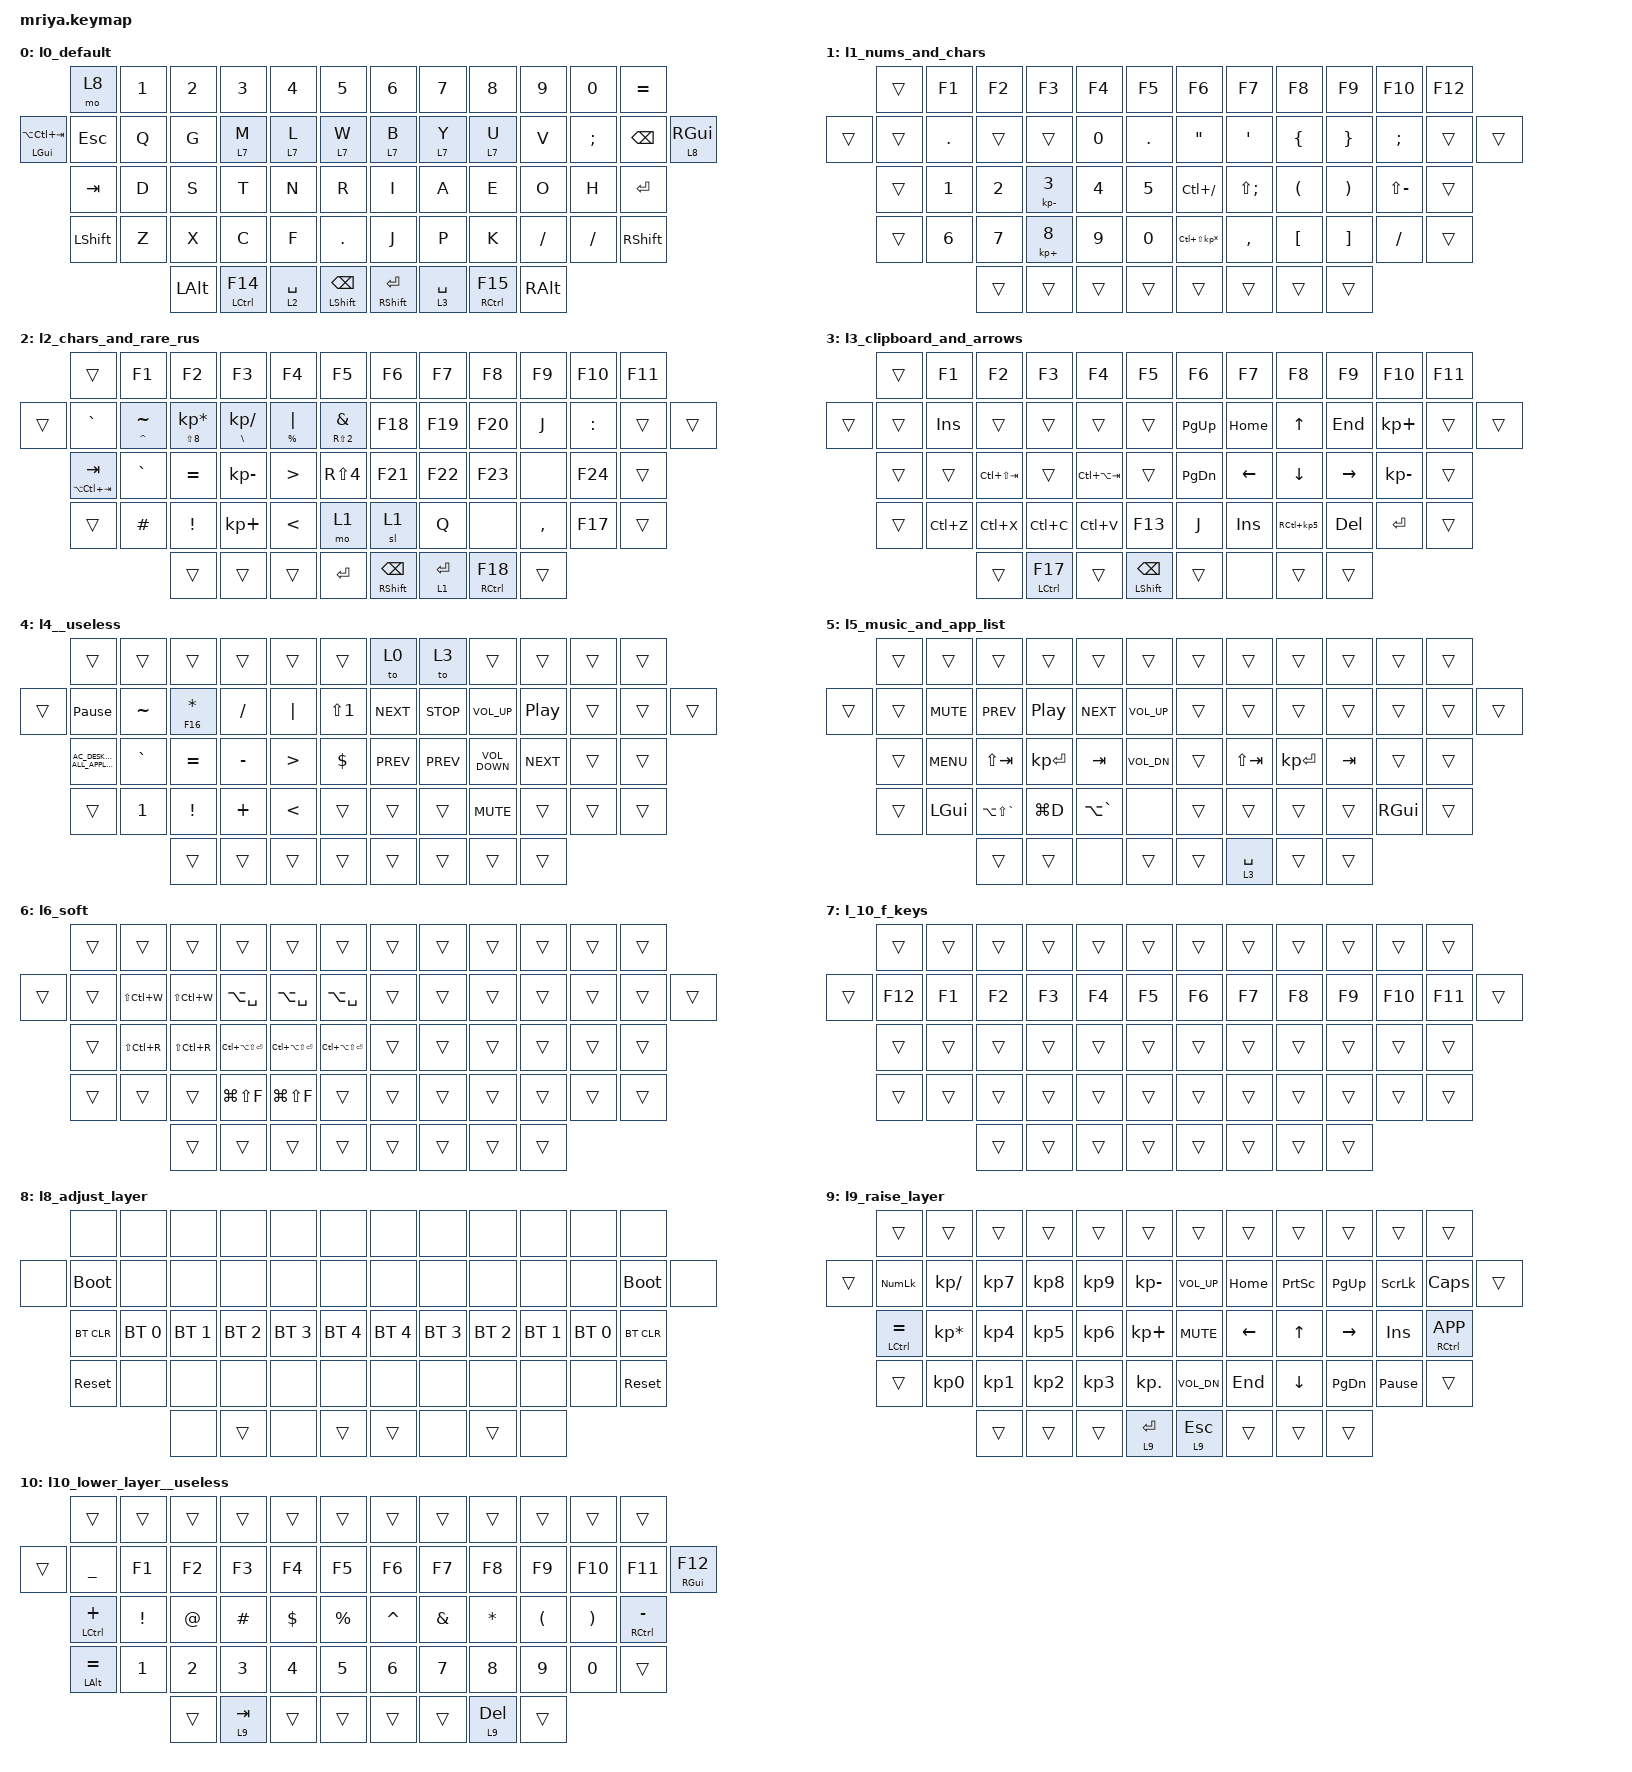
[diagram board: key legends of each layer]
/*
 * Copyright (c) 2023 Andrei Gaevskii
 *
 * SPDX-License-Identifier: MIT
 */

#include <behaviors.dtsi>
#include <dt-bindings/zmk/bt.h>
#include <dt-bindings/zmk/keys.h>

#define DEF 0
#define LWR 1
#define RSE 2
#define ADJ 3

&lt { quick_tap_ms = <200>; };

&mt { quick_tap_ms = <200>; };

/ {
    combos {
        compatible = "zmk,combos";

        gg_lang_toggle_and_l1_combo {
            bindings = <&mt LEFT_ALT F13>;
            key-positions = <52 55>;
            timeout-ms = <65>;
            slow-release;
        };

        gg_lang_eng_combo {
            bindings = <&mt LEFT_ALT F14>;
            key-positions = <51 42>;
            timeout-ms = <65>;
        };

        gg_lang_rus_combo {
            bindings = <&mt RIGHT_ALT F15>;
            key-positions = <56 45>;
            timeout-ms = <65>;
            slow-release;
        };

        left_enter_combo {
            bindings = <&lt 6 ENTER>;
            key-positions = <52 53>;
            timeout-ms = <70>;
            slow-release;
        };

        l0_left_nav_mode_on_combo {
            bindings = <&to 3>;
            key-positions = <33 35 34>;
            layers = <0>;
            timeout-ms = <60>;
        };

        l3_left_nav_mode_off_combo {
            bindings = <&to 0>;
            key-positions = <33 34 35>;
            timeout-ms = <60>;
            layers = <3>;
        };

        ctrl_z_combo {
            bindings = <&kp LC(Z)>;
            key-positions = <39 40>;
            timeout-ms = <60>;
        };

        ctrl_x_combo {
            bindings = <&kp LC(X)>;
            key-positions = <40 41>;
            timeout-ms = <60>;
        };

        ctrl_c_combo {
            bindings = <&kp LC(C)>;
            key-positions = <41 42>;
            timeout-ms = <60>;
        };

        ctrl_v_1_combo {
            bindings = <&kp LC(V)>;
            key-positions = <42 43>;
            timeout-ms = <60>;
        };

        ctrl_v_2_combo {
            bindings = <&kp LC(V)>;
            key-positions = <30 29>;
            timeout-ms = <60>;
            require-prior-idle-ms = <10>;
        };

        l3_home_pgup_combo {
            bindings = <&mt HOME PG_UP>;
            key-positions = <20 21>;
            layers = <3>;
            timeout-ms = <60>;
        };

        l3_home_pudn_combo {
            bindings = <&mt END PG_DN>;
            key-positions = <33 34>;
            layers = <3>;
            timeout-ms = <60>;
        };

        l0_backspace_combo {
            bindings = <&kp BACKSPACE>;
            key-positions = <22 23>;
            layers = <0 1 2 3>;
            timeout-ms = <65>;
        };

        l0_enter_1_combo {
            bindings = <&kp KP_ENTER>;
            key-positions = <35 36>;
            layers = <0 1 2 3>;
            timeout-ms = <60>;
        };

        l0_del_combo {
            bindings = <&kp DELETE>;
            key-positions = <48 47>;
            layers = <0 1 2 3>;
            timeout-ms = <60>;
        };

        l0_enter_2_combo {
            bindings = <&kp KP_ENTER>;
            key-positions = <36 34 35>;
            layers = <0 1 2 3>;
            timeout-ms = <60>;
        };

        l0_esc_combo {
            bindings = <&kp ESCAPE>;
            key-positions = <14 15>;
            layers = <0>;
            timeout-ms = <60>;
        };

        l0_tab_1_combo {
            bindings = <&mt LA(LC(TAB)) TAB>;
            key-positions = <27 28>;
            layers = <0>;
            timeout-ms = <60>;
            require-prior-idle-ms = <10>;
        };

        l0_tab_2_combo {
            bindings = <&mt LA(LC(TAB)) TAB>;
            key-positions = <27 28 29>;
            layers = <0>;
            timeout-ms = <60>;
        };

        l1_l2_l3__n2_f2_combo {
            bindings = <&mt NUMBER_2 F2>;
            key-positions = <14 15>;
            layers = <1 3 2>;
            timeout-ms = <60>;
        };

        l1_l2_l3__n3_f3_combo {
            bindings = <&mt NUMBER_3 F3>;
            key-positions = <15 16>;
            layers = <1 2 3>;
            timeout-ms = <60>;
        };

        l1_l2_l3__n4_f4_combo {
            bindings = <&mt NUMBER_4 F4>;
            key-positions = <17 16>;
            layers = <1 2 3>;
            timeout-ms = <60>;
        };

        l1_l2_l3__n1_f1_combo {
            bindings = <&mt NUMBER_1 F1>;
            key-positions = <13 14>;
            layers = <1 2 3>;
            timeout-ms = <60>;
        };

        l1_l2_l3__n5_f5_combo {
            bindings = <&mt NUMBER_5 F5>;
            key-positions = <18 17>;
            layers = <3 2 1>;
            timeout-ms = <60>;
        };

        l0_backspace_2_combo {
            bindings = <&kp BACKSPACE>;
            key-positions = <21 22>;
            layers = <0 2 3 1>;
            timeout-ms = <60>;
        };

        l0_enter_3_combo {
            bindings = <&kp ENTER>;
            key-positions = <34 35>;
            layers = <0 2 3 1>;
            timeout-ms = <60>;
        };

        l0_del_2_combo {
            bindings = <&kp DELETE>;
            key-positions = <47 46>;
            layers = <0 2 3 1>;
            timeout-ms = <60>;
        };

        l0_app_list_layer_combo {
            bindings = <&lt 5 LA(LC(TAB))>;
            key-positions = <43 52>;
            layers = <0>;
            timeout-ms = <65>;
            slow-release;
        };

        l5_alt_for_app_switch_combo {
            bindings = <&kp LALT>;
            key-positions = <43 52>;
            layers = <5>;
            timeout-ms = <60>;
            slow-release;
        };

        l0_r_alt_combo {
            bindings = <&kp RIGHT_ALT>;
            key-positions = <55 44>;
            layers = <0>;
            timeout-ms = <60>;
            slow-release;
        };

        l0_l3__thumb_to_l1_2_combo {
            bindings = <&mo 1>;
            key-positions = <52 51>;
            timeout-ms = <65>;
            layers = <0 3>;
            slow-release;
        };

        l0_l3__thumb_to_l1_3_combo {
            bindings = <&mo 1>;
            key-positions = <55 56>;
            timeout-ms = <65>;
            layers = <3 0>;
            slow-release;
        };

        l0_l3__esc_9 {
            bindings = <&kp ESCAPE>;
            key-positions = <16 15>;
            layers = <0 3>;
            timeout-ms = <60>;
        };

        l0_l3__enter_9 {
            bindings = <&kp TAB>;
            key-positions = <28 29>;
            layers = <0 3>;
            timeout-ms = <60>;
            require-prior-idle-ms = <10>;
        };

        l0_l3_backspace_3_combo {
            bindings = <&kp BACKSPACE>;
            key-positions = <35 33>;
            layers = <0 3>;
        };

        l0_l3_backspace_4_combo {
            bindings = <&kp BACKSPACE>;
            key-positions = <35 21>;
        };

        gg_l_gui_combo {
            bindings = <&kp LEFT_GUI>;
            key-positions = <39 40 41>;
            timeout-ms = <65>;
        };

        gg_r_gui_combo {
            bindings = <&kp RIGHT_GUI>;
            key-positions = <48 47 46>;
            timeout-ms = <65>;
        };

        gg_backspace_5_combo {
            bindings = <&kp BACKSPACE>;
            key-positions = <46 45>;
        };

        gg_f12_1 {
            bindings = <&kp F12>;
            key-positions = <1 10>;
        };

        gg_f12_2 {
            bindings = <&kp F12>;
            key-positions = <1 14 10 23>;
        };

        gg_l_gui_combo_2 {
            bindings = <&kp LEFT_GUI>;
            key-positions = <39 41>;
            timeout-ms = <65>;
        };

        gg_r_gui_combo_2 {
            bindings = <&kp RIGHT_GUI>;
            key-positions = <48 46>;
            timeout-ms = <65>;
        };

        gg_f8_combo {
            bindings = <&kp F8>;
            key-positions = <8 21>;
        };

        gg_f9_combo {
            bindings = <&kp F9>;
            key-positions = <9 22>;
        };

        gg_f10_combo {
            bindings = <&kp F10>;
            key-positions = <10 23>;
        };

        gg_l_gui_combo_3 {
            bindings = <&kp LEFT_GUI>;
            key-positions = <42 40>;
            timeout-ms = <65>;
        };

        gg_r_gui_combo_3 {
            bindings = <&kp RIGHT_GUI>;
            key-positions = <45 47>;
            timeout-ms = <65>;
        };

        gg_beaftext_1 {
            bindings = <&kp LS(LA(LC(ENTER)))>;
            key-positions = <28 30>;
            timeout-ms = <65>;
        };

        gg_beaftext_2 {
            bindings = <&kp LS(LA(LC(ENTER)))>;
            key-positions = <15 17>;
            timeout-ms = <65>;
        };

        gg_f1_combo {
            bindings = <&kp F1>;
            key-positions = <1 14>;
            timeout-ms = <60>;
        };

        gg_f2_combo {
            bindings = <&kp F2>;
            key-positions = <2 15>;
            timeout-ms = <60>;
        };

        gg_f3_combo {
            bindings = <&kp F3>;
            key-positions = <3 16>;
            timeout-ms = <60>;
        };

        gg_f4_combo {
            bindings = <&kp F4>;
            key-positions = <4 17>;
            timeout-ms = <60>;
        };

        gg_f5_combo {
            bindings = <&kp F5>;
            key-positions = <5 18>;
            timeout-ms = <60>;
        };

        gg_f1 {
            bindings = <&kp F1>;
            key-positions = <14 27>;
            timeout-ms = <60>;
        };

        gg_f2 {
            bindings = <&kp F2>;
            key-positions = <15 28>;
            timeout-ms = <60>;
        };

        gg_f3 {
            bindings = <&kp F3>;
            key-positions = <16 29>;
            timeout-ms = <60>;
        };

        gg_f4 {
            bindings = <&kp F4>;
            key-positions = <17 30>;
            timeout-ms = <60>;
        };

        gg_f5 {
            bindings = <&kp F5>;
            key-positions = <18 31>;
            timeout-ms = <60>;
        };

        gg-f6 {
            bindings = <&kp F6>;
            key-positions = <6 19>;
            timeout-ms = <60>;
        };

        gg-f7 {
            bindings = <&kp F7>;
            key-positions = <7 20>;
            timeout-ms = <60>;
        };

        gg-f8 {
            bindings = <&kp F8>;
            key-positions = <8 21>;
            timeout-ms = <60>;
        };

        gg-f9 {
            bindings = <&kp F9>;
            key-positions = <9 22>;
            timeout-ms = <60>;
        };

        gg-f10 {
            bindings = <&kp F10>;
            key-positions = <10 23>;
            timeout-ms = <60>;
        };

        gg-f6-2 {
            bindings = <&kp F6>;
            key-positions = <19 32>;
            timeout-ms = <60>;
        };

        gg-f7-2 {
            bindings = <&kp F7>;
            key-positions = <20 33>;
            timeout-ms = <60>;
        };

        gg-f8-2 {
            bindings = <&kp F8>;
            key-positions = <21 34>;
            timeout-ms = <60>;
        };

        gg-f9-2 {
            bindings = <&kp F9>;
            key-positions = <22 35>;
            timeout-ms = <60>;
        };

        gg-f10-2 {
            bindings = <&kp F10>;
            key-positions = <23 36>;
            timeout-ms = <60>;
        };

        gg_lang_toggle_and_l1_combo-2 {
            bindings = <&mt LEFT_ALT F13>;
            key-positions = <56 51>;
            timeout-ms = <65>;
            slow-release;
        };

        gg-l2-1 {
            bindings = <&mo 1>;
            key-positions = <52 56>;
            timeout-ms = <65>;
            slow-release;
        };

        gg-l1-2 {
            bindings = <&mo 1>;
            key-positions = <51 55>;
            timeout-ms = <65>;
            slow-release;
        };

        gg-2-f1 {
            bindings = <&kp F1>;
            key-positions = <14 26>;
            timeout-ms = <60>;
        };

        gg-2-f2 {
            bindings = <&kp F2>;
            key-positions = <15 27>;
            timeout-ms = <60>;
        };

        gg-2-f3 {
            bindings = <&kp F3>;
            key-positions = <16 28>;
            timeout-ms = <60>;
        };

        gg-2-f4 {
            bindings = <&kp F4>;
            key-positions = <17 29>;
            timeout-ms = <60>;
        };

        gg-2-f5 {
            bindings = <&kp F5>;
            key-positions = <18 30>;
            timeout-ms = <60>;
        };

        gg-2-f6 {
            bindings = <&kp F6>;
            key-positions = <19 33>;
            timeout-ms = <60>;
        };

        gg-2-f7 {
            bindings = <&kp F7>;
            key-positions = <20 34>;
            timeout-ms = <60>;
        };

        gg-2-f8 {
            bindings = <&kp F8>;
            key-positions = <21 35>;
            timeout-ms = <60>;
        };

        gg-2-f9 {
            bindings = <&kp F9>;
            key-positions = <22 36>;
            timeout-ms = <60>;
        };

        gg-2-f10 {
            bindings = <&kp F10>;
            key-positions = <23 37>;
            timeout-ms = <60>;
        };

        gg-4-f1 {
            bindings = <&kp F1>;
            key-positions = <14 28>;
            timeout-ms = <60>;
        };

        gg-4-f2 {
            bindings = <&kp F2>;
            key-positions = <15 29>;
            timeout-ms = <60>;
        };

        gg-4-f3 {
            bindings = <&kp F3>;
            key-positions = <16 30>;
            timeout-ms = <60>;
        };

        gg-4-f4 {
            bindings = <&kp F4>;
            key-positions = <17 31>;
            timeout-ms = <60>;
        };

        gg-4-f7 {
            bindings = <&kp F7>;
            key-positions = <20 32>;
            timeout-ms = <60>;
        };

        gg-4-f8 {
            bindings = <&kp F8>;
            key-positions = <21 33>;
            timeout-ms = <60>;
        };

        gg-4-f9 {
            bindings = <&kp F9>;
            key-positions = <22 34>;
            timeout-ms = <60>;
        };

        gg-4-f10 {
            bindings = <&kp F10>;
            key-positions = <23 35>;
            timeout-ms = <60>;
        };

        gg-4-f11 {
            bindings = <&kp F11>;
            key-positions = <24 36>;
            timeout-ms = <60>;
        };

        gg-3-f4 {
            bindings = <&kp F4>;
            key-positions = <17 16>;
            timeout-ms = <60>;
        };

        gg-3-f5 {
            bindings = <&kp F5>;
            key-positions = <18 17>;
            timeout-ms = <60>;
        };

        gg-3-f6 {
            bindings = <&kp F6>;
            key-positions = <19 20>;
            timeout-ms = <60>;
        };

        gg-3-f7 {
            bindings = <&kp F7>;
            key-positions = <20 21>;
            timeout-ms = <60>;
        };

        gg-3-f8 {
            bindings = <&kp F8>;
            key-positions = <21 22>;
            timeout-ms = <60>;
        };

        gg-3-f9 {
            bindings = <&kp F9>;
            key-positions = <22 23>;
            timeout-ms = <60>;
        };

        gg-3-f10 {
            bindings = <&kp F10>;
            key-positions = <23 24>;
            timeout-ms = <60>;
        };
    };

    keymap {
        compatible = "zmk,keymap";

        l0_default {
            bindings = <
                          &mo 8           &kp N1  &kp N2    &kp N3         &kp N4       &kp N5                  &kp N6            &kp N7       &kp N8         &kp N9     &kp N0         &kp EQUAL
&mt LEFT_GUI LA(LC(TAB))  &kp ESC         &kp Q   &kp G     &lt 7 M        &lt 7 L      &lt 7 W                 &lt 7 B           &lt 7 Y      &lt 7 U        &kp V      &kp SEMICOLON  &kp BACKSPACE    &lt 8 RIGHT_GUI
                          &kp TAB         &kp D   &kp S     &kp T          &kp N        &kp R                   &kp I             &kp A        &kp E          &kp O      &kp H          &kp ENTER
                          &kp LEFT_SHIFT  &kp Z   &kp X     &kp C          &kp F        &kp DOT                 &kp J             &kp P        &kp K          &kp SLASH  &kp SLASH      &kp RIGHT_SHIFT
                                                  &kp LALT  &mt LCTRL F14  &lt 2 SPACE  &mt LSHIFT BACKSPACE    &mt RSHIFT ENTER  &lt 3 SPACE  &mt RCTRL F15  &kp RALT
            >;
        };

        l1_nums_and_chars {
            bindings = <
        &trans  &kp F1   &kp F2  &kp F3                    &kp F4        &kp F5     &kp F6                   &kp F7            &kp F8                &kp F9                 &kp F10        &kp F12
&trans  &trans  &kp DOT  &trans  &trans                    &kp NUMBER_0  &kp DOT    &kp DOUBLE_QUOTES        &kp SINGLE_QUOTE  &kp LEFT_BRACE        &kp RIGHT_BRACE        &kp SEMICOLON  &trans   &trans
        &trans  &kp N1   &kp N2  &mt KP_SUBTRACT NUMBER_3  &kp N4        &kp N5     &kp LC(SLASH)            &kp LS(SEMI)      &kp LEFT_PARENTHESIS  &kp RIGHT_PARENTHESIS  &kp LS(MINUS)  &trans
        &trans  &kp N6   &kp N7  &mt KP_PLUS NUMBER_8      &kp N9        &kp N0     &kp LC(LS(KP_MULTIPLY))  &kp COMMA         &kp LEFT_BRACKET      &kp RIGHT_BRACKET      &kp SLASH      &trans
                         &trans  &trans                    &trans        &trans     &trans                   &trans            &trans                &trans
            >;
        };

        l2_chars_and_rare_rus {
            bindings = <
        &trans               &kp F1           &kp F2                        &kp F3                  &kp F4            &kp F5                        &kp F6                     &kp F7       &kp F8                 &kp F9     &kp F10    &kp F11
&trans  &kp GRAVE            &mt CARET TILDE  &mt LS(NUMBER_8) KP_MULTIPLY  &mt BACKSLASH KP_SLASH  &mt PERCENT PIPE  &mt RS(NUMBER_2) AMPERSAND    &kp F18                    &kp F19      &kp F20                &kp J      &kp COLON  &trans   &trans
        &mt LA(LC(TAB)) TAB  &kp GRAVE        &kp EQUAL                     &kp KP_MINUS            &kp GREATER_THAN  &kp RS(NUMBER_4)              &kp F21                    &kp F22      &kp F23                &none      &kp F24    &trans
        &trans               &kp HASH         &kp EXCLAMATION               &kp KP_PLUS             &kp LESS_THAN     &mo 1                         &sl 1                      &kp Q        &none                  &kp COMMA  &kp F17    &trans
                                              &trans                        &trans                  &trans            &kp ENTER                     &mt RIGHT_SHIFT BACKSPACE  &lt 1 ENTER  &mt RIGHT_CONTROL F18  &trans
            >;
        };

        l3_clipboard_and_arrows {
            bindings = <
        &trans  &kp F1     &kp F2           &kp F3         &kp F4           &kp F5                      &kp F6       &kp F7          &kp F8               &kp F9           &kp F10       &kp F11
&trans  &trans  &kp INS    &trans           &trans         &trans           &trans                      &kp PAGE_UP  &kp HOME        &kp UP_ARROW         &kp END          &kp KP_PLUS   &trans   &trans
        &trans  &trans     &kp LC(LS(TAB))  &trans         &kp LC(LA(TAB))  &trans                      &kp PG_DN    &kp LEFT_ARROW  &kp DOWN_ARROW       &kp RIGHT_ARROW  &kp KP_MINUS  &trans
        &trans  &kp LC(Z)  &kp LC(X)        &kp LC(C)      &kp LC(V)        &kp F13                     &kp J        &kp INS         &kp RC(KP_NUMBER_5)  &kp DEL          &kp ENTER     &trans
                           &trans           &mt LCTRL F17  &trans           &mt LEFT_SHIFT BACKSPACE    &trans       &none           &trans               &trans
            >;
        };

        l4__useless {
            bindings = <
        &trans                                  &trans     &trans            &trans     &trans            &trans        &to 0       &to 3       &trans             &trans            &trans  &trans
&trans  &kp PAUSE_BREAK                         &kp TILDE  &mt F16 ASTERISK  &kp FSLH   &kp PIPE          &kp LS(N1)    &kp C_NEXT  &kp C_STOP  &kp C_VOLUME_UP    &kp C_PLAY_PAUSE  &trans  &trans  &trans
        &kp C_AC_DESKTOP_SHOW_ALL_APPLICATIONS  &kp GRAVE  &kp EQUAL         &kp MINUS  &kp GREATER_THAN  &kp DOLLAR    &kp C_PREV  &kp C_PREV  &kp C_VOLUME_DOWN  &kp C_NEXT        &trans  &trans
        &trans                                  &kp N1     &kp EXCL          &kp PLUS   &kp LESS_THAN     &trans        &trans      &trans      &kp C_MUTE         &trans            &trans  &trans
                                                           &trans            &trans     &trans            &trans        &trans      &trans      &trans             &trans
            >;
        };

        l5_music_and_app_list {
            bindings = <
        &trans  &trans        &trans             &trans            &trans         &trans             &trans  &trans       &trans        &trans   &trans         &trans
&trans  &trans  &kp C_MUTE    &kp C_PREV         &kp C_PLAY_PAUSE  &kp C_NEXT     &kp C_VOLUME_UP    &trans  &trans       &trans        &trans   &trans         &trans  &trans
        &trans  &kp C_MENU    &kp LS(TAB)        &kp KP_ENTER      &kp TAB        &kp C_VOL_DN       &trans  &kp LS(TAB)  &kp KP_ENTER  &kp TAB  &trans         &trans
        &trans  &kp LEFT_GUI  &kp LA(LS(GRAVE))  &kp LG(D)         &kp LA(GRAVE)  &none              &trans  &trans       &trans        &trans   &kp RIGHT_GUI  &trans
                              &trans             &trans            &none          &trans             &trans  &lt 3 SPACE  &trans        &trans
            >;
        };

        l6_soft {
            bindings = <
        &trans  &trans         &trans         &trans                 &trans                 &trans                   &trans  &trans  &trans  &trans  &trans  &trans
&trans  &trans  &kp LS(LC(W))  &kp LS(LC(W))  &kp LA(SPACE)          &kp LA(SPACE)          &kp LA(SPACE)            &trans  &trans  &trans  &trans  &trans  &trans  &trans
        &trans  &kp LS(LC(R))  &kp LS(LC(R))  &kp LC(LA(LS(ENTER)))  &kp LC(LA(LS(ENTER)))  &kp LC(LA(LS(ENTER)))    &trans  &trans  &trans  &trans  &trans  &trans
        &trans  &trans         &trans         &kp LG(LS(F))          &kp LG(LS(F))          &trans                   &trans  &trans  &trans  &trans  &trans  &trans
                               &trans         &trans                 &trans                 &trans                   &trans  &trans  &trans  &trans
            >;
        };

        l_10_f_keys {
            bindings = <
        &trans   &trans  &trans  &trans  &trans  &trans    &trans  &trans  &trans  &trans  &trans   &trans
&trans  &kp F12  &kp F1  &kp F2  &kp F3  &kp F4  &kp F5    &kp F6  &kp F7  &kp F8  &kp F9  &kp F10  &kp F11  &trans
        &trans   &trans  &trans  &trans  &trans  &trans    &trans  &trans  &trans  &trans  &trans   &trans
        &trans   &trans  &trans  &trans  &trans  &trans    &trans  &trans  &trans  &trans  &trans   &trans
                         &trans  &trans  &trans  &trans    &trans  &trans  &trans  &trans
            >;
        };

        l8_adjust_layer {
            bindings = <
       &none        &none         &none         &none         &none         &none           &none         &none         &none         &none         &none         &none
&none  &bootloader  &none         &none         &none         &none         &none           &none         &none         &none         &none         &none         &bootloader  &none
       &bt BT_CLR   &bt BT_SEL 0  &bt BT_SEL 1  &bt BT_SEL 2  &bt BT_SEL 3  &bt BT_SEL 4    &bt BT_SEL 4  &bt BT_SEL 3  &bt BT_SEL 2  &bt BT_SEL 1  &bt BT_SEL 0  &bt BT_CLR
       &sys_reset   &none         &none         &none         &none         &none           &none         &none         &none         &none         &none         &sys_reset
                                  &none         &trans        &none         &trans          &trans        &none         &trans        &none
            >;
        };

        l9_raise_layer {
            bindings = <
        &trans           &trans           &trans     &trans     &trans     &trans          &trans        &trans    &trans     &trans     &trans           &trans
&trans  &kp KP_NUM       &kp KP_SLASH     &kp KP_N7  &kp KP_N8  &kp KP_N9  &kp KP_MINUS    &kp C_VOL_UP  &kp HOME  &kp PSCRN  &kp PG_UP  &kp SLCK         &kp CAPS         &trans
        &mt LCTRL EQUAL  &kp KP_MULTIPLY  &kp KP_N4  &kp KP_N5  &kp KP_N6  &kp KP_PLUS     &kp C_MUTE    &kp LEFT  &kp UP     &kp RIGHT  &kp INS          &mt RCTRL K_APP
        &trans           &kp KP_N0        &kp KP_N1  &kp KP_N2  &kp KP_N3  &kp KP_DOT      &kp C_VOL_DN  &kp END   &kp DOWN   &kp PG_DN  &kp PAUSE_BREAK  &trans
                                          &trans     &trans     &trans     &lt 9 RET       &lt 9 ESC     &trans    &trans     &trans
            >;
        };

        l10_lower_layer__useless {
            bindings = <
        &trans          &trans    &trans  &trans     &trans    &trans       &trans     &trans    &trans     &trans    &trans    &trans
&trans  &kp UNDER       &kp F1    &kp F2  &kp F3     &kp F4    &kp F5       &kp F6     &kp F7    &kp F8     &kp F9    &kp F10   &kp F11          &mt RGUI F12
        &mt LCTRL PLUS  &kp EXCL  &kp AT  &kp HASH   &kp DLLR  &kp PRCNT    &kp CARET  &kp AMPS  &kp STAR   &kp LPAR  &kp RPAR  &mt RCTRL MINUS
        &mt LALT EQUAL  &kp N1    &kp N2  &kp N3     &kp N4    &kp N5       &kp N6     &kp N7    &kp N8     &kp N9    &kp N0    &trans
                                  &trans  &lt 9 TAB  &trans    &trans       &trans     &trans    &lt 9 DEL  &trans
            >;
        };
    };
};
